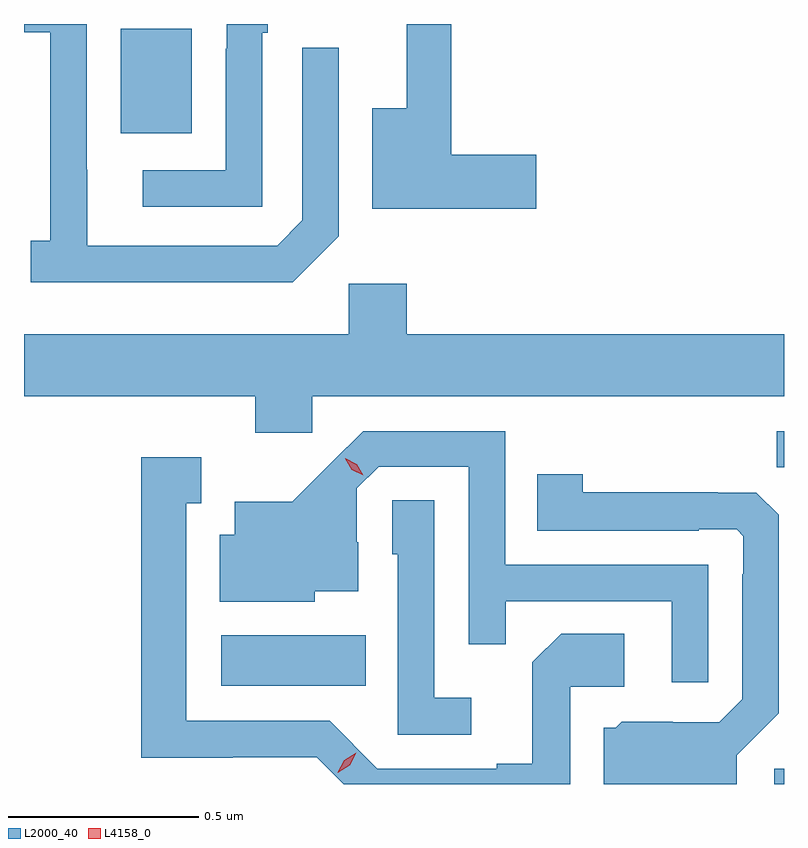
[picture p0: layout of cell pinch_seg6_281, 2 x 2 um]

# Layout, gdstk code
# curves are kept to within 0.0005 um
import gdstk
lib = gdstk.Library(unit=1e-6, precision=1e-09)
def R(c, l, rs):  # rectangles x0, y0, x1, y1
    for r in rs: c.add(gdstk.rectangle(r[:2], r[2:], *l))
def P(c, l, *ps):  # polygons
    for p in ps: c.add(gdstk.Polygon(p, *l))
L2000_40 = (2000, 40)
L4158_0 = (4158, 0)

pinch_seg6_281 = lib.new_cell('pinch_seg6_281')
R(pinch_seg6_281, L2000_40, [(882.975,984.944,883.001,984.984), (881.52,985.202,881.9,985.336), (882.982,985.777,883.001,985.872), (881.255,986.657,881.443,986.932)])
P(pinch_seg6_281, L2000_40, [(882.349,986.6),(882.125,986.6),(882.125,986.944),(882.008,986.944),(882.008,986.722),(881.918,986.722),(881.918,986.458),(882.349,986.458)],
  [(881.628,986.921),(881.643,986.921),(881.643,986.944),(881.535,986.944),(881.535,986.879),(881.532,986.879),(881.532,986.559),(881.313,986.559),(881.313,986.463),(881.628,986.463)],
  [(881.829,986.385),(881.829,986.881),(881.733,986.881),(881.733,986.427),(881.667,986.361),(881.167,986.361),(881.167,986.561),(881.166,986.561),(881.166,986.944),(881.001,986.944),(881.001,986.922),(881.07,986.922),(881.07,986.374),(881.019,986.374),(881.019,986.264),(881.708,986.264)],
  [(881.76,985.964),(883.001,985.964),(883.001,986.128),(882.008,986.128),(882.008,986.26),(881.856,986.26),(881.856,986.128),(881.001,986.128),(881.001,985.964),(881.609,985.964),(881.609,985.869),(881.76,985.869)],
  [(882.801,985.521),(882.267,985.521),(882.267,985.872),(881.894,985.872),(881.707,985.687),(881.555,985.687),(881.555,985.6),(881.516,985.6),(881.516,985.424),(881.766,985.424),(881.766,985.451),(881.881,985.451),(881.881,985.58),(881.877,985.58),(881.877,985.722),(881.934,985.779),(882.171,985.779),(882.171,985.312),(882.269,985.312),(882.269,985.425),(882.705,985.425),(882.705,985.212),(882.801,985.212)],
  [(882.438,985.2),(882.58,985.2),(882.58,985.34),(882.415,985.34),(882.339,985.264),(882.339,984.997),(882.245,984.997),(882.245,984.984),(881.931,984.984),(881.805,985.11),(881.428,985.11),(881.428,985.683),(881.467,985.683),(881.467,985.804),(881.31,985.804),(881.31,985.013),(881.55,985.013),(881.55,985.014),(881.772,985.014),(881.842,984.944),(882.438,984.944)],
  [(882.877,985.02),(882.987,985.13),(882.987,985.652),(882.928,985.711),(882.827,985.711),(882.827,985.712),(882.471,985.712),(882.471,985.759),(882.352,985.759),(882.352,985.611),(882.776,985.611),(882.776,985.614),(882.876,985.614),(882.894,985.596),(882.894,985.496),(882.891,985.496),(882.891,985.167),(882.831,985.107),(882.708,985.107),(882.708,985.108),(882.574,985.108),(882.558,985.092),(882.527,985.092),(882.527,984.944),(882.877,984.944)],
  [(882.178,985.171),(882.081,985.171),(882.081,985.691),(881.97,985.691),(881.97,985.548),(881.985,985.548),(881.985,985.074),(882.178,985.074)])
P(pinch_seg6_281, L4158_0, [(881.894,985.756),(881.864,985.771),(881.846,985.8),(881.846,985.801),(881.846,985.801),(881.877,985.786),(881.894,985.756),(881.894,985.756)],
  [(881.826,984.974),(881.826,984.975),(881.844,985.007),(881.875,985.026),(881.875,985.026),(881.875,985.026),(881.858,984.993),(881.827,984.974)])

lib.write_gds('pinch_seg6_281.gds')
